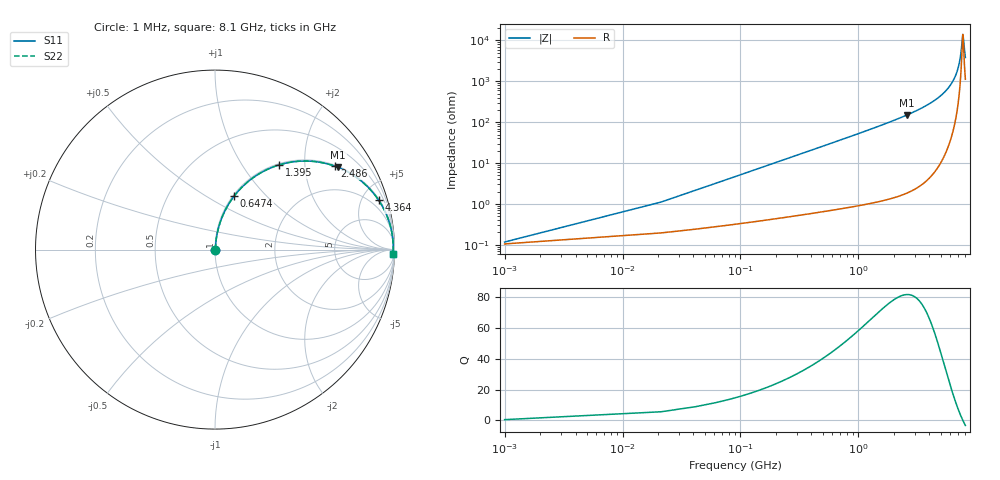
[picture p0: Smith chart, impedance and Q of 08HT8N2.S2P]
! Coilcraft 0805HT-8N2 Chip Inductor
! 24 June 2002
# MHZ S MA R 50
!Freq  MagS11  AngS11  MagS21  AngS21  MagS12  AngS12  MagS22  AngS22
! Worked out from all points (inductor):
!   402 points, 1 MHz to 8.1 GHz, reference 50 ohm
!   read as one part in series: L = 8.2 nH near 41.4 MHz
!   highest Q = 81.6 at 2.566 GHz (marker M1), where L = 9.22 nH
!   self-resonance near 7.697 GHz
!   S11 on the Smith chart (normalised r, x): 1 MHz: 1.00, +0.00; 647.4 MHz: 1.01, +0.67; 1.395 GHz: 1.02, +1.49; 2.486 GHz: 1.04, +2.86; 4.364 GHz: 1.11, +6.62; 8.1 GHz: 23, -74
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1  0.001168 26.1  0.999 -0.0  0.999 -0.0  0.001168 26.1
61.6  0.03176 83.2  0.9967 -1.8  0.9967 -1.8  0.03176 83.2
102  0.05242 83.4  0.9953 -3.0  0.9953 -3.0  0.05242 83.4
142.4  0.07302 82.9  0.9936 -4.2  0.9936 -4.2  0.07302 82.9
223.2  0.1139 81.2  0.989 -6.5  0.989 -6.5  0.1139 81.2
324.2  0.1643 78.7  0.9812 -9.4  0.9812 -9.4  0.1643 78.7
647.4  0.3164 70.3  0.9418 -18.4  0.9418 -18.4  0.3164 70.3
1354.4  0.5803 53.7  0.8058 -35.5  0.8058 -35.5  0.5803 53.7
1394.8  0.5923 52.8  0.7971 -36.3  0.7971 -36.3  0.5923 52.8
2485.6  0.8147 34.7  0.57 -54.6  0.57 -54.6  0.8147 34.7
2566.4  0.8252 33.7  0.5549 -55.6  0.5549 -55.6  0.8252 33.7
2707.8  0.8421 31.9  0.5291 -57.4  0.5291 -57.4  0.8421 31.9
4061.2  0.9408 19.0  0.3248 -70.2  0.3248 -70.2  0.9408 19.0
4364.2  0.9527 16.7  0.2879 -72.3  0.2879 -72.3  0.9527 16.7
5414.6  0.979 10.2  0.1778 -78.1  0.1778 -78.1  0.979 10.2
6202.4  0.9885 6.3  0.1092 -80.8  0.1092 -80.8  0.9885 6.3
6768  0.9918 3.7  0.06547 -81.0  0.06547 -81.0  0.9918 3.7
7293.2  0.993 1.6  0.02851 -75.1  0.02851 -75.1  0.993 1.6
7697.2  0.993 0.0  0.007078 -6.3  0.007078 -6.3  0.993 0.0
7757.8  0.9929 -0.2  0.007766 23.6  0.007766 23.6  0.9929 -0.2
7959.8  0.9925 -0.9  0.01758 64.4  0.01758 64.4  0.9925 -0.9
8100  0.9922 -1.4  0.02581 71.6  0.02581 71.6  0.9922 -1.4
